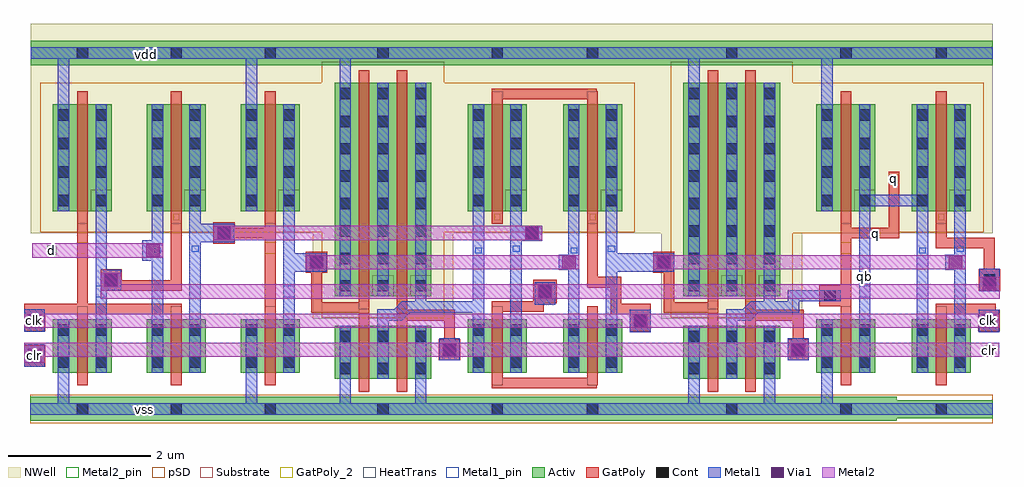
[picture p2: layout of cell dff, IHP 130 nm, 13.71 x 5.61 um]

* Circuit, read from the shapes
.subckt dff clk clr d q qb vdd vss
XM1 transmissiongate$1_4/clk clk vss vss sg13_lv_nmos w=0.75u l=0.15u
XM2 inverter$1$1_2/in clk d vss sg13_lv_nmos w=0.75u l=0.15u
XM3 nor_0/b inverter$1$1_2/in vss vss sg13_lv_nmos w=0.75u l=0.15u
XM4 transmissiongate$2_5/d nor_0/b vss vss sg13_lv_nmos w=0.75u l=0.15u
XM5 vss clr transmissiongate$2_5/d vss sg13_lv_nmos w=0.75u l=0.15u
XM6 inverter$1$1_2/in transmissiongate$1_4/clk transmissiongate$2_5/d vss sg13_lv_nmos w=0.75u l=0.15u
XM7 nor$1_9/b transmissiongate$1_4/clk nor_0/b vss sg13_lv_nmos w=0.75u l=0.15u
XM8 q nor$1_9/b vss vss sg13_lv_nmos w=0.75u l=0.15u
XM9 vss clr q vss sg13_lv_nmos w=0.75u l=0.15u
XM10 qb q vss vss sg13_lv_nmos w=0.75u l=0.15u
XM11 nor$1_9/b clk qb vss sg13_lv_nmos w=0.75u l=0.15u
XM12 transmissiongate$1_4/clk clk vdd vdd sg13_lv_pmos w=1.5u l=0.15u
XM13 inverter$1$1_2/in transmissiongate$1_4/clk d vdd sg13_lv_pmos w=1.5u l=0.15u
XM14 nor_0/b inverter$1$1_2/in vdd vdd sg13_lv_pmos w=1.5u l=0.15u
XM15 n1 nor_0/b vdd vdd sg13_lv_pmos w=3u l=0.15u
XM16 transmissiongate$2_5/d clr n1 vdd sg13_lv_pmos w=3u l=0.15u
XM17 inverter$1$1_2/in clk transmissiongate$2_5/d vdd sg13_lv_pmos w=1.5u l=0.15u
XM18 nor$1_9/b clk nor_0/b vdd sg13_lv_pmos w=1.5u l=0.15u
XM19 n2 nor$1_9/b vdd vdd sg13_lv_pmos w=3u l=0.15u
XM20 q clr n2 vdd sg13_lv_pmos w=3u l=0.15u
XM21 qb q vdd vdd sg13_lv_pmos w=1.5u l=0.15u
XM22 nor$1_9/b transmissiongate$1_4/clk qb vdd sg13_lv_pmos w=1.5u l=0.15u
.ends

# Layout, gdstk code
from math import pi, radians
import gdstk
lib = gdstk.Library(unit=1e-6, precision=5e-09)
def R(c, l, rs):  # rectangles x0, y0, x1, y1
    for r in rs: c.add(gdstk.rectangle(r[:2], r[2:], *l))
def A(c, l, x, y, w, h, nx, ny, dx, dy):  # array of equal rectangles
    R(c, l, [(x+i*dx, y+j*dy, x+i*dx+w, y+j*dy+h) for i in range(nx) for j in range(ny)])
def P(c, l, *ps):  # polygons
    for p in ps: c.add(gdstk.Polygon(p, *l))
Activ = (1, 0)
GatPoly = (5, 0)
GatPoly_2 = (5, 2)
Cont = (6, 0)
Metal1 = (8, 0)
Metal1_pin = (8, 2)
Metal2 = (10, 0)
Metal2_pin = (10, 2)
pSD = (14, 0)
Via1 = (19, 0)
NWell = (31, 0)
Substrate = (40, 0)
HeatTrans = (51, 0)

pmos_1_4 = lib.new_cell('pmos$1$4')
R(pmos_1_4, Activ, [(0,0,0.3,0.3), (0,0,0.83,3), (0.53,0,0.83,0.3)])
R(pmos_1_4, GatPoly, [(0.34,-0.18,0.49,3.18), (0.34,-0.18,0.49,3.18)])
A(pmos_1_4, Cont, 0.07, 0.07, 0.16, 0.16, 1, 7, 0, 0.385)
A(pmos_1_4, Cont, 0.6, 0.07, 0.16, 0.16, 1, 7, 0, 0.385)
R(pmos_1_4, Cont, [(0.07,2.77,0.23,2.93), (0.6,2.77,0.76,2.93)])
R(pmos_1_4, Metal1, [(0.07,0,0.23,3), (0.07,0,0.23,3), (0.6,0,0.76,3), (0.6,0,0.76,3)])
R(pmos_1_4, pSD, [(-0.18,-0.3,1.01,3.3)])
R(pmos_1_4, NWell, [(-0.31,-0.31,1.14,3.31)])
R(pmos_1_4, Substrate, [(0.53,0,0.83,0.3)])
R(pmos_1_4, HeatTrans, [(0.34,-0.18,0.49,3.18)])
pmos_1_4.add(gdstk.Label('pmos', (0.415,1.5), layer=63, texttype=0))
pmos_1_4.add(gdstk.Label('pmos', (0.415,1.5), layer=51, texttype=0))

nmos_3_1 = lib.new_cell('nmos$3$1')
R(nmos_3_1, Activ, [(0,0,0.3,0.3), (0,0,0.83,0.75), (0.53,0,0.83,0.3)])
R(nmos_3_1, GatPoly, [(0.34,-0.18,0.49,0.93)])
R(nmos_3_1, GatPoly_2, [(0.34,-0.18,0.49,0.93)])
R(nmos_3_1, Cont, [(0.07,0.07,0.23,0.23), (0.6,0.07,0.76,0.23), (0.07,0.52,0.23,0.68), (0.6,0.52,0.76,0.68)])
R(nmos_3_1, Metal1, [(0.07,0,0.23,0.75), (0.6,0,0.76,0.75)])
R(nmos_3_1, Metal1_pin, [(0.07,0,0.23,0.75), (0.6,0,0.76,0.75)])
R(nmos_3_1, HeatTrans, [(0.34,-0.18,0.49,0.93)])
nmos_3_1.add(gdstk.Label('nmos', (0.415,0.375), layer=63, texttype=0))
nmos_3_1.add(gdstk.Label('nmos', (0.415,0.375), layer=51, texttype=0))

m1_cont1_pmos_2 = lib.new_cell('M1_Cont1_PMOS$2')
R(m1_cont1_pmos_2, Activ, [(-0.985,-0.175,0.995,0.165)])
R(m1_cont1_pmos_2, Cont, [(-0.075,-0.085,0.085,0.075)])
R(m1_cont1_pmos_2, Metal1, [(-0.985,-0.085,0.995,0.075)])
R(m1_cont1_pmos_2, Metal1_pin, [(-0.985,-0.085,0.995,0.075)])
R(m1_cont1_pmos_2, NWell, [(-0.985,-0.415,0.995,0.405)])

m1_bulkcont1_pmos_2 = lib.new_cell('M1_BulkCont1_PMOS$2')
r = gdstk.Reference(m1_cont1_pmos_2, (-0.015,-0.015)); r.repetition = gdstk.Repetition(1, 1, v1=(0,0), v2=(0,0)); m1_bulkcont1_pmos_2.add(r)

m1_cont1_nmos_2 = lib.new_cell('M1_Cont1_NMOS$2')
R(m1_cont1_nmos_2, Activ, [(-0.98,-0.175,1,0.165)])
R(m1_cont1_nmos_2, Cont, [(-0.07,-0.085,0.09,0.075)])
R(m1_cont1_nmos_2, Metal1, [(-0.98,-0.085,1,0.075)])
R(m1_cont1_nmos_2, Metal1_pin, [(-0.98,-0.085,1,0.075)])
R(m1_cont1_nmos_2, pSD, [(-0.98,-0.205,1,0.195)])

m1_bulkcont1_nmos_2 = lib.new_cell('M1_BulkCont1_NMOS$2')
r = gdstk.Reference(m1_cont1_nmos_2, (0.005,0.01)); r.repetition = gdstk.Repetition(1, 1, v1=(0,0), v2=(0,0)); m1_bulkcont1_nmos_2.add(r)

nor = lib.new_cell('nor')
R(nor, GatPoly, [(0.19,-2.075,0.34,-1.165), (-0.34,-2.07,-0.19,-1.165)])
R(nor, GatPoly_2, [(0.19,-1.255,0.34,-1.09), (-0.34,-1.25,-0.19,-1.085)])
R(nor, Cont, [(-0.08,2.315,0.08,2.475)])
R(nor, Metal1, [(-0.08,-1.505,0.08,-1.205), (-0.08,-1.365,0.265,-1.205), (0.105,-1.365,0.265,-1.205), (0.265,-1.255,0.61,-1.095), (0.265,-1.255,0.425,-1.095), (0.45,-1.255,0.61,-0.955), (-0.61,1.515,-0.45,2.475)])
P(nor, Metal1, [(0.155,-1.205),(0.265,-1.095),(0.39,-1.095),(0.39,-1.205)],
  [(0.14,-1.365),(0.14,-1.255),(0.375,-1.255),(0.265,-1.365)])
R(nor, Metal1_pin, [(0.45,-0.955,0.61,-0.795)])
nor.add(gdstk.FlexPath([(-0.53,-2.035),(-0.53,-2.605),(0.53,-2.605),(0.53,-2.04)], 0.16, ends="flush", simple_path=True, layer=8, datatype=0))  # Metal1
nor.add(gdstk.Reference(pmos_1_4, (-0.68,-1.025)))
nor.add(gdstk.Reference(pmos_1_4, (-0.15,-1.025)))
nor.add(gdstk.Reference(nmos_3_1, (-0.68,-2.185)))
nor.add(gdstk.Reference(nmos_3_1, (-0.15,-2.185)))
nor.add(gdstk.Reference(m1_bulkcont1_pmos_2, (0.01,2.415)))
nor.add(gdstk.Reference(m1_bulkcont1_nmos_2, (-0.015,-2.61)))
nor.add(gdstk.Label('vdd', (0,2.4), layer=8, texttype=2))
nor.add(gdstk.Label('vss', (-0.005,-2.605), layer=8, texttype=2))
nor.add(gdstk.Label('out', (0.525,-0.86), layer=8, texttype=2))
nor.add(gdstk.Label('a', (0.26,-1.16), layer=5, texttype=2))
nor.add(gdstk.Label('b', (-0.275,-1.17), layer=5, texttype=2))

via_stack_1_1 = lib.new_cell('via_stack$1$1')
R(via_stack_1_1, Metal1, [(-0.145,-0.105,0.145,0.105)])
R(via_stack_1_1, Metal2, [(-0.145,-0.1,0.145,0.1)])
R(via_stack_1_1, Via1, [(-0.095,-0.095,0.095,0.095)])

m1_cont1_pmos_3 = lib.new_cell('M1_Cont1_PMOS$3')
R(m1_cont1_pmos_3, Activ, [(-0.72,-0.175,0.73,0.165)])
R(m1_cont1_pmos_3, Cont, [(-0.075,-0.085,0.085,0.075)])
R(m1_cont1_pmos_3, Metal1, [(-0.72,-0.085,0.73,0.075)])
R(m1_cont1_pmos_3, Metal1_pin, [(-0.72,-0.085,0.73,0.075)])
R(m1_cont1_pmos_3, NWell, [(-0.72,-0.415,0.73,0.405)])

m1_bulkcont1_pmos_3 = lib.new_cell('M1_BulkCont1_PMOS$3')
r = gdstk.Reference(m1_cont1_pmos_3, (-0.015,-0.015)); r.repetition = gdstk.Repetition(1, 1, v1=(0,0), v2=(0,0)); m1_bulkcont1_pmos_3.add(r)

m1_cont1_nmos_3 = lib.new_cell('M1_Cont1_NMOS$3')
R(m1_cont1_nmos_3, Activ, [(-0.725,-0.175,0.725,0.165)])
R(m1_cont1_nmos_3, Cont, [(-0.07,-0.085,0.09,0.075)])
R(m1_cont1_nmos_3, Metal1, [(-0.725,-0.085,0.725,0.075)])
R(m1_cont1_nmos_3, Metal1_pin, [(-0.725,-0.085,0.725,0.075)])
R(m1_cont1_nmos_3, pSD, [(-0.725,-0.205,0.725,0.195)])

m1_bulkcont1_nmos_3 = lib.new_cell('M1_BulkCont1_NMOS$3')
r = gdstk.Reference(m1_cont1_nmos_3, (0.005,0.01)); r.repetition = gdstk.Repetition(1, 1, v1=(0,0), v2=(0,0)); m1_bulkcont1_nmos_3.add(r)

nmos_2_1 = lib.new_cell('nmos$2$1')
R(nmos_2_1, Activ, [(0,0,0.3,0.3), (0,0,0.83,0.75), (0.53,0,0.83,0.3)])
R(nmos_2_1, GatPoly, [(0.34,-0.18,0.49,0.93)])
R(nmos_2_1, GatPoly_2, [(0.34,-0.18,0.49,0.93)])
R(nmos_2_1, Cont, [(0.07,0.07,0.23,0.23), (0.6,0.07,0.76,0.23), (0.07,0.52,0.23,0.68), (0.6,0.52,0.76,0.68)])
R(nmos_2_1, Metal1, [(0.07,0,0.23,0.75), (0.6,0,0.76,0.75)])
R(nmos_2_1, Metal1_pin, [(0.07,0,0.23,0.75), (0.6,0,0.76,0.75)])
R(nmos_2_1, HeatTrans, [(0.34,-0.18,0.49,0.93)])
nmos_2_1.add(gdstk.Label('nmos', (0.415,0.375), layer=63, texttype=0))
nmos_2_1.add(gdstk.Label('nmos', (0.415,0.375), layer=51, texttype=0))

pmos_1_6 = lib.new_cell('pmos$1$6')
R(pmos_1_6, Activ, [(0,0,0.3,0.3), (0,0,0.83,1.5), (0.53,0,0.83,0.3)])
R(pmos_1_6, GatPoly, [(0.34,-0.18,0.49,1.68), (0.34,-0.18,0.49,1.68)])
A(pmos_1_6, Cont, 0.07, 0.07, 0.16, 0.16, 1, 4, 0, 0.4)
A(pmos_1_6, Cont, 0.6, 0.07, 0.16, 0.16, 1, 4, 0, 0.4)
R(pmos_1_6, Metal1, [(0.07,0,0.23,1.5), (0.07,0,0.23,1.5), (0.6,0,0.76,1.5), (0.6,0,0.76,1.5)])
R(pmos_1_6, pSD, [(-0.18,-0.3,1.01,1.8)])
R(pmos_1_6, NWell, [(-0.31,-0.31,1.14,1.81)])
R(pmos_1_6, Substrate, [(0.53,0,0.83,0.3)])
R(pmos_1_6, HeatTrans, [(0.34,-0.18,0.49,1.68)])
pmos_1_6.add(gdstk.Label('pmos', (0.415,0.75), layer=63, texttype=0))
pmos_1_6.add(gdstk.Label('pmos', (0.415,0.75), layer=51, texttype=0))

inverter_1_1 = lib.new_cell('inverter$1$1')
R(inverter_1_1, GatPoly, [(-0.075,-1.72,0.075,0.805)])
R(inverter_1_1, GatPoly_2, [(-0.075,-0.425,0.075,-0.26)])
R(inverter_1_1, Cont, [(-0.08,-2.685,0.08,-2.525), (-0.08,2.315,0.08,2.475)])
R(inverter_1_1, Metal1, [(-0.345,-2.685,-0.185,-1.72), (0.185,-1.72,0.345,0.805), (-0.345,1.37,-0.185,2.475)])
R(inverter_1_1, Metal1_pin, [(-0.08,-2.685,0.08,-2.525), (0.185,-1.035,0.345,-0.875), (-0.08,2.315,0.08,2.475)])
inverter_1_1.add(gdstk.Reference(m1_bulkcont1_pmos_3, (0.01,2.415)))
inverter_1_1.add(gdstk.Reference(m1_bulkcont1_nmos_3, (-0.015,-2.61)))
inverter_1_1.add(gdstk.Reference(nmos_2_1, (-0.415,-2.095)))
inverter_1_1.add(gdstk.Reference(pmos_1_6, (-0.415,0.175)))
inverter_1_1.add(gdstk.Label('vdd', (-0.015,2.39), layer=8, texttype=2))
inverter_1_1.add(gdstk.Label('vss', (-0.01,-2.62), layer=8, texttype=2))
inverter_1_1.add(gdstk.Label('out', (0.27,-0.95), layer=8, texttype=2))
inverter_1_1.add(gdstk.Label('in', (-0.025,-0.34), layer=5, texttype=2))

pmos_1_7 = lib.new_cell('pmos$1$7')
R(pmos_1_7, Activ, [(0,0,0.3,0.3), (0,0,0.83,1.5), (0.53,0,0.83,0.3)])
R(pmos_1_7, GatPoly, [(0.34,-0.18,0.49,1.68), (0.34,-0.18,0.49,1.68)])
A(pmos_1_7, Cont, 0.07, 0.07, 0.16, 0.16, 1, 4, 0, 0.4)
A(pmos_1_7, Cont, 0.6, 0.07, 0.16, 0.16, 1, 4, 0, 0.4)
R(pmos_1_7, Metal1, [(0.07,0,0.23,1.5), (0.07,0,0.23,1.5), (0.6,0,0.76,1.5), (0.6,0,0.76,1.5)])
R(pmos_1_7, pSD, [(-0.18,-0.3,1.01,1.8)])
R(pmos_1_7, NWell, [(-0.31,-0.31,1.14,1.81)])
R(pmos_1_7, Substrate, [(0.53,0,0.83,0.3)])
R(pmos_1_7, HeatTrans, [(0.34,-0.18,0.49,1.68)])
pmos_1_7.add(gdstk.Label('pmos', (0.415,0.75), layer=63, texttype=0))
pmos_1_7.add(gdstk.Label('pmos', (0.415,0.75), layer=51, texttype=0))

nmos_1_2 = lib.new_cell('nmos$1$2')
R(nmos_1_2, Activ, [(0,0,0.3,0.3), (0,0,0.83,0.75), (0.53,0,0.83,0.3)])
R(nmos_1_2, GatPoly, [(0.34,-0.18,0.49,0.93)])
R(nmos_1_2, GatPoly_2, [(0.34,-0.18,0.49,0.93)])
R(nmos_1_2, Cont, [(0.07,0.07,0.23,0.23), (0.6,0.07,0.76,0.23), (0.07,0.52,0.23,0.68), (0.6,0.52,0.76,0.68)])
R(nmos_1_2, Metal1, [(0.07,0,0.23,0.75), (0.6,0,0.76,0.75)])
R(nmos_1_2, Metal1_pin, [(0.07,0,0.23,0.75), (0.6,0,0.76,0.75)])
R(nmos_1_2, HeatTrans, [(0.34,-0.18,0.49,0.93)])
nmos_1_2.add(gdstk.Label('nmos', (0.415,0.375), layer=63, texttype=0))
nmos_1_2.add(gdstk.Label('nmos', (0.415,0.375), layer=51, texttype=0))

transmissiongate = lib.new_cell('transmissiongate')
R(transmissiongate, Activ, [(-0.85,-2.775,0.6,-2.435), (-0.85,2.225,0.6,2.565)])
R(transmissiongate, GatPoly_2, [(-0.165,-1.29,-0.08,-1.205), (-0.165,0.045,-0.08,0.135)])
R(transmissiongate, Cont, [(-0.205,-2.685,-0.045,-2.525), (-0.205,2.315,-0.045,2.475)])
R(transmissiongate, Metal1, [(-0.85,-2.685,0.6,-2.525), (-0.47,-1.645,-0.31,0.4), (0.06,-1.645,0.22,0.41), (-0.85,2.315,0.6,2.475)])
R(transmissiongate, Metal1_pin, [(-0.85,-2.685,0.6,-2.525), (-0.435,-0.42,-0.34,-0.34), (0.09,-0.395,0.19,-0.31), (-0.85,2.315,0.6,2.475)])
R(transmissiongate, pSD, [(-0.85,-2.805,0.6,-2.405)])
R(transmissiongate, NWell, [(-0.85,1.985,0.6,2.805)])
transmissiongate.add(gdstk.Reference(pmos_1_7, (-0.54,0.175)))
transmissiongate.add(gdstk.Reference(nmos_1_2, (0.29,-1.345), rotation=pi))
transmissiongate.add(gdstk.Label('vdd', (-0.125,2.395), layer=6, texttype=0))
transmissiongate.add(gdstk.Label('out', (0.125,-0.365), layer=8, texttype=2))
transmissiongate.add(gdstk.Label('d', (-0.41,-0.38), layer=8, texttype=2))
transmissiongate.add(gdstk.Label('vss', (-0.125,-2.615), layer=8, texttype=2))
transmissiongate.add(gdstk.Label('clk_b', (-0.145,0.1), layer=5, texttype=2))
transmissiongate.add(gdstk.Label('clk', (-0.145,-1.245), layer=5, texttype=2))

pmos_1_7_1 = lib.new_cell('pmos$1$7$1')
R(pmos_1_7_1, Activ, [(0,0,0.3,0.3), (0,0,0.83,1.5), (0.53,0,0.83,0.3)])
R(pmos_1_7_1, GatPoly, [(0.34,-0.18,0.49,1.68), (0.34,-0.18,0.49,1.68)])
A(pmos_1_7_1, Cont, 0.07, 0.07, 0.16, 0.16, 1, 4, 0, 0.4)
A(pmos_1_7_1, Cont, 0.6, 0.07, 0.16, 0.16, 1, 4, 0, 0.4)
R(pmos_1_7_1, Metal1, [(0.07,0,0.23,1.5), (0.07,0,0.23,1.5), (0.6,0,0.76,1.5), (0.6,0,0.76,1.5)])
R(pmos_1_7_1, pSD, [(-0.18,-0.3,1.01,1.8)])
R(pmos_1_7_1, NWell, [(-0.31,-0.31,1.14,1.81)])
R(pmos_1_7_1, Substrate, [(0.53,0,0.83,0.3)])
R(pmos_1_7_1, HeatTrans, [(0.34,-0.18,0.49,1.68)])
pmos_1_7_1.add(gdstk.Label('pmos', (0.415,0.75), layer=63, texttype=0))
pmos_1_7_1.add(gdstk.Label('pmos', (0.415,0.75), layer=51, texttype=0))

nmos_1_1_1 = lib.new_cell('nmos$1$1$1')
R(nmos_1_1_1, Activ, [(0,0,0.3,0.3), (0,0,0.83,0.75), (0.53,0,0.83,0.3)])
R(nmos_1_1_1, GatPoly, [(0.34,-0.18,0.49,0.93)])
R(nmos_1_1_1, GatPoly_2, [(0.34,-0.18,0.49,0.93)])
R(nmos_1_1_1, Cont, [(0.07,0.07,0.23,0.23), (0.6,0.07,0.76,0.23), (0.07,0.52,0.23,0.68), (0.6,0.52,0.76,0.68)])
R(nmos_1_1_1, Metal1, [(0.07,0,0.23,0.75), (0.6,0,0.76,0.75)])
R(nmos_1_1_1, Metal1_pin, [(0.07,0,0.23,0.75), (0.6,0,0.76,0.75)])
R(nmos_1_1_1, HeatTrans, [(0.34,-0.18,0.49,0.93)])
nmos_1_1_1.add(gdstk.Label('nmos', (0.415,0.375), layer=63, texttype=0))
nmos_1_1_1.add(gdstk.Label('nmos', (0.415,0.375), layer=51, texttype=0))

transmissiongate_1 = lib.new_cell('transmissiongate$1')
R(transmissiongate_1, Activ, [(-0.85,-2.74,0.6,-2.485), (-0.85,2.225,0.6,2.565)])
R(transmissiongate_1, GatPoly_2, [(-0.165,-1.29,-0.08,-1.205), (-0.165,0.045,-0.08,0.135)])
R(transmissiongate_1, Cont, [(-0.205,-2.685,-0.045,-2.525), (-0.205,2.315,-0.045,2.475)])
R(transmissiongate_1, Metal1, [(-0.85,-2.685,0.6,-2.525), (-0.47,-1.645,-0.31,0.4), (0.06,-1.645,0.22,0.41), (-0.85,2.315,0.6,2.475)])
R(transmissiongate_1, Metal1_pin, [(-0.85,-2.685,0.6,-2.525), (-0.435,-0.42,-0.34,-0.34), (0.09,-0.395,0.19,-0.31), (-0.85,2.315,0.6,2.475)])
R(transmissiongate_1, pSD, [(-0.85,-2.805,0.6,-2.405)])
R(transmissiongate_1, NWell, [(-0.85,1.985,0.6,2.805)])
transmissiongate_1.add(gdstk.Reference(pmos_1_7_1, (-0.54,0.175)))
transmissiongate_1.add(gdstk.Reference(nmos_1_1_1, (0.29,-1.345), rotation=pi))
transmissiongate_1.add(gdstk.Label('vdd', (-0.125,2.395), layer=6, texttype=0))
transmissiongate_1.add(gdstk.Label('out', (0.125,-0.365), layer=8, texttype=2))
transmissiongate_1.add(gdstk.Label('d', (-0.41,-0.38), layer=8, texttype=2))
transmissiongate_1.add(gdstk.Label('vss', (-0.125,-2.615), layer=8, texttype=2))
transmissiongate_1.add(gdstk.Label('clk_b', (-0.145,0.1), layer=5, texttype=2))
transmissiongate_1.add(gdstk.Label('clk', (-0.145,-1.245), layer=5, texttype=2))

pmos_1_8 = lib.new_cell('pmos$1$8')
R(pmos_1_8, Activ, [(0,0,0.3,0.3), (0,0,0.83,1.5), (0.53,0,0.83,0.3)])
R(pmos_1_8, GatPoly, [(0.34,-0.18,0.49,1.68), (0.34,-0.18,0.49,1.68)])
A(pmos_1_8, Cont, 0.07, 0.07, 0.16, 0.16, 1, 4, 0, 0.4)
A(pmos_1_8, Cont, 0.6, 0.07, 0.16, 0.16, 1, 4, 0, 0.4)
R(pmos_1_8, Metal1, [(0.07,0,0.23,1.5), (0.07,0,0.23,1.5), (0.6,0,0.76,1.5), (0.6,0,0.76,1.5)])
R(pmos_1_8, pSD, [(-0.18,-0.3,1.01,1.8)])
R(pmos_1_8, NWell, [(-0.31,-0.31,1.14,1.81)])
R(pmos_1_8, Substrate, [(0.53,0,0.83,0.3)])
R(pmos_1_8, HeatTrans, [(0.34,-0.18,0.49,1.68)])
pmos_1_8.add(gdstk.Label('pmos', (0.415,0.75), layer=63, texttype=0))
pmos_1_8.add(gdstk.Label('pmos', (0.415,0.75), layer=51, texttype=0))

nmos_1_2_1 = lib.new_cell('nmos$1$2$1')
R(nmos_1_2_1, Activ, [(0,0,0.3,0.3), (0,0,0.83,0.75), (0.53,0,0.83,0.3)])
R(nmos_1_2_1, GatPoly, [(0.34,-0.18,0.49,0.93)])
R(nmos_1_2_1, GatPoly_2, [(0.34,-0.18,0.49,0.93)])
R(nmos_1_2_1, Cont, [(0.07,0.07,0.23,0.23), (0.6,0.07,0.76,0.23), (0.07,0.52,0.23,0.68), (0.6,0.52,0.76,0.68)])
R(nmos_1_2_1, Metal1, [(0.07,0,0.23,0.75), (0.6,0,0.76,0.75)])
R(nmos_1_2_1, Metal1_pin, [(0.07,0,0.23,0.75), (0.6,0,0.76,0.75)])
R(nmos_1_2_1, HeatTrans, [(0.34,-0.18,0.49,0.93)])
nmos_1_2_1.add(gdstk.Label('nmos', (0.415,0.375), layer=63, texttype=0))
nmos_1_2_1.add(gdstk.Label('nmos', (0.415,0.375), layer=51, texttype=0))

transmissiongate_2 = lib.new_cell('transmissiongate$2')
R(transmissiongate_2, Activ, [(-0.85,-2.74,0.6,-2.485), (-0.85,2.225,0.6,2.565)])
R(transmissiongate_2, GatPoly_2, [(-0.165,-1.29,-0.08,-1.205), (-0.165,0.045,-0.08,0.135)])
R(transmissiongate_2, Cont, [(-0.205,-2.685,-0.045,-2.525), (-0.205,2.315,-0.045,2.475)])
R(transmissiongate_2, Metal1, [(-0.85,-2.685,0.6,-2.525), (-0.47,-1.645,-0.31,0.4), (0.06,-1.645,0.22,0.41), (-0.85,2.315,0.6,2.475)])
R(transmissiongate_2, Metal1_pin, [(-0.85,-2.685,0.6,-2.525), (-0.435,-0.42,-0.34,-0.34), (0.09,-0.395,0.19,-0.31), (-0.85,2.315,0.6,2.475)])
R(transmissiongate_2, pSD, [(-0.85,-2.805,0.6,-2.405)])
R(transmissiongate_2, NWell, [(-0.85,1.985,0.6,2.805)])
transmissiongate_2.add(gdstk.Reference(pmos_1_8, (-0.54,0.175)))
transmissiongate_2.add(gdstk.Reference(nmos_1_2_1, (0.29,-1.345), rotation=pi))
transmissiongate_2.add(gdstk.Label('vdd', (-0.125,2.395), layer=6, texttype=0))
transmissiongate_2.add(gdstk.Label('out', (0.125,-0.365), layer=8, texttype=2))
transmissiongate_2.add(gdstk.Label('d', (-0.41,-0.38), layer=8, texttype=2))
transmissiongate_2.add(gdstk.Label('vss', (-0.125,-2.615), layer=8, texttype=2))
transmissiongate_2.add(gdstk.Label('clk_b', (-0.145,0.1), layer=5, texttype=2))
transmissiongate_2.add(gdstk.Label('clk', (-0.145,-1.245), layer=5, texttype=2))

pmos_1_9 = lib.new_cell('pmos$1$9')
R(pmos_1_9, Activ, [(0,0,0.3,0.3), (0,0,0.83,3), (0.53,0,0.83,0.3)])
R(pmos_1_9, GatPoly, [(0.34,-0.18,0.49,3.18), (0.34,-0.18,0.49,3.18)])
A(pmos_1_9, Cont, 0.07, 0.07, 0.16, 0.16, 1, 7, 0, 0.385)
A(pmos_1_9, Cont, 0.6, 0.07, 0.16, 0.16, 1, 7, 0, 0.385)
R(pmos_1_9, Cont, [(0.07,2.77,0.23,2.93), (0.6,2.77,0.76,2.93)])
R(pmos_1_9, Metal1, [(0.07,0,0.23,3), (0.07,0,0.23,3), (0.6,0,0.76,3), (0.6,0,0.76,3)])
R(pmos_1_9, pSD, [(-0.18,-0.3,1.01,3.3)])
R(pmos_1_9, NWell, [(-0.31,-0.31,1.14,3.31)])
R(pmos_1_9, Substrate, [(0.53,0,0.83,0.3)])
R(pmos_1_9, HeatTrans, [(0.34,-0.18,0.49,3.18)])
pmos_1_9.add(gdstk.Label('pmos', (0.415,1.5), layer=63, texttype=0))
pmos_1_9.add(gdstk.Label('pmos', (0.415,1.5), layer=51, texttype=0))

nmos_4 = lib.new_cell('nmos$4')
R(nmos_4, Activ, [(0,0,0.3,0.3), (0,0,0.83,0.75), (0.53,0,0.83,0.3)])
R(nmos_4, GatPoly, [(0.34,-0.18,0.49,0.93)])
R(nmos_4, GatPoly_2, [(0.34,-0.18,0.49,0.93)])
R(nmos_4, Cont, [(0.07,0.07,0.23,0.23), (0.6,0.07,0.76,0.23), (0.07,0.52,0.23,0.68), (0.6,0.52,0.76,0.68)])
R(nmos_4, Metal1, [(0.07,0,0.23,0.75), (0.6,0,0.76,0.75)])
R(nmos_4, Metal1_pin, [(0.07,0,0.23,0.75), (0.6,0,0.76,0.75)])
R(nmos_4, HeatTrans, [(0.34,-0.18,0.49,0.93)])
nmos_4.add(gdstk.Label('nmos', (0.415,0.375), layer=63, texttype=0))
nmos_4.add(gdstk.Label('nmos', (0.415,0.375), layer=51, texttype=0))

m1_cont1_pmos_4 = lib.new_cell('M1_Cont1_PMOS$4')
R(m1_cont1_pmos_4, Activ, [(-0.985,-0.175,0.995,0.165)])
R(m1_cont1_pmos_4, Cont, [(-0.075,-0.085,0.085,0.075)])
R(m1_cont1_pmos_4, Metal1, [(-0.985,-0.085,0.995,0.075)])
R(m1_cont1_pmos_4, Metal1_pin, [(-0.985,-0.085,0.995,0.075)])
R(m1_cont1_pmos_4, NWell, [(-0.985,-0.415,0.995,0.405)])

m1_bulkcont1_pmos_4 = lib.new_cell('M1_BulkCont1_PMOS$4')
r = gdstk.Reference(m1_cont1_pmos_4, (-0.015,-0.015)); r.repetition = gdstk.Repetition(1, 1, v1=(0,0), v2=(0,0)); m1_bulkcont1_pmos_4.add(r)

m1_cont1_nmos_4 = lib.new_cell('M1_Cont1_NMOS$4')
R(m1_cont1_nmos_4, Activ, [(-0.98,-0.175,1,0.165)])
R(m1_cont1_nmos_4, Cont, [(-0.07,-0.085,0.09,0.075)])
R(m1_cont1_nmos_4, Metal1, [(-0.98,-0.085,1,0.075)])
R(m1_cont1_nmos_4, Metal1_pin, [(-0.98,-0.085,1,0.075)])
R(m1_cont1_nmos_4, pSD, [(-0.98,-0.205,1,0.195)])

m1_bulkcont1_nmos_4 = lib.new_cell('M1_BulkCont1_NMOS$4')
r = gdstk.Reference(m1_cont1_nmos_4, (0.005,0.01)); r.repetition = gdstk.Repetition(1, 1, v1=(0,0), v2=(0,0)); m1_bulkcont1_nmos_4.add(r)

nor_1 = lib.new_cell('nor$1')
R(nor_1, GatPoly, [(0.19,-2.075,0.34,-1.165), (-0.34,-2.07,-0.19,-1.165)])
R(nor_1, GatPoly_2, [(0.19,-1.255,0.34,-1.09), (-0.34,-1.25,-0.19,-1.085)])
R(nor_1, Cont, [(-0.08,2.315,0.08,2.475)])
R(nor_1, Metal1, [(-0.08,-1.505,0.08,-1.205), (-0.08,-1.365,0.265,-1.205), (0.105,-1.365,0.265,-1.205), (0.265,-1.255,0.61,-1.095), (0.265,-1.255,0.425,-1.095), (0.45,-1.255,0.61,-0.955), (-0.61,1.515,-0.45,2.475)])
P(nor_1, Metal1, [(0.155,-1.205),(0.265,-1.095),(0.39,-1.095),(0.39,-1.205)],
  [(0.14,-1.365),(0.14,-1.255),(0.375,-1.255),(0.265,-1.365)])
R(nor_1, Metal1_pin, [(0.45,-0.955,0.61,-0.795)])
nor_1.add(gdstk.FlexPath([(-0.53,-2.035),(-0.53,-2.605),(0.53,-2.605),(0.53,-2.04)], 0.16, ends="flush", simple_path=True, layer=8, datatype=0))  # Metal1
nor_1.add(gdstk.Reference(pmos_1_9, (-0.68,-1.025)))
nor_1.add(gdstk.Reference(pmos_1_9, (-0.15,-1.025)))
nor_1.add(gdstk.Reference(nmos_4, (-0.68,-2.185)))
nor_1.add(gdstk.Reference(nmos_4, (-0.15,-2.185)))
nor_1.add(gdstk.Reference(m1_bulkcont1_pmos_4, (0.01,2.415)))
nor_1.add(gdstk.Reference(m1_bulkcont1_nmos_4, (-0.015,-2.61)))
nor_1.add(gdstk.Label('vdd', (0,2.4), layer=8, texttype=2))
nor_1.add(gdstk.Label('vss', (-0.005,-2.605), layer=8, texttype=2))
nor_1.add(gdstk.Label('out', (0.525,-0.86), layer=8, texttype=2))
nor_1.add(gdstk.Label('a', (0.26,-1.16), layer=5, texttype=2))
nor_1.add(gdstk.Label('b', (-0.275,-1.17), layer=5, texttype=2))

m1_cont1_pmos_5 = lib.new_cell('M1_Cont1_PMOS$5')
R(m1_cont1_pmos_5, Activ, [(-0.72,-0.175,0.73,0.165)])
R(m1_cont1_pmos_5, Cont, [(-0.075,-0.085,0.085,0.075)])
R(m1_cont1_pmos_5, Metal1, [(-0.72,-0.085,0.73,0.075)])
R(m1_cont1_pmos_5, Metal1_pin, [(-0.72,-0.085,0.73,0.075)])
R(m1_cont1_pmos_5, NWell, [(-0.72,-0.415,0.73,0.405)])

m1_bulkcont1_pmos_5 = lib.new_cell('M1_BulkCont1_PMOS$5')
r = gdstk.Reference(m1_cont1_pmos_5, (-0.015,-0.015)); r.repetition = gdstk.Repetition(1, 1, v1=(0,0), v2=(0,0)); m1_bulkcont1_pmos_5.add(r)

m1_cont1_nmos_5 = lib.new_cell('M1_Cont1_NMOS$5')
R(m1_cont1_nmos_5, Activ, [(-0.725,-0.175,0.725,0.165)])
R(m1_cont1_nmos_5, Cont, [(-0.07,-0.085,0.09,0.075)])
R(m1_cont1_nmos_5, Metal1, [(-0.725,-0.085,0.725,0.075)])
R(m1_cont1_nmos_5, Metal1_pin, [(-0.725,-0.085,0.725,0.075)])
R(m1_cont1_nmos_5, pSD, [(-0.725,-0.205,0.725,0.195)])

m1_bulkcont1_nmos_5 = lib.new_cell('M1_BulkCont1_NMOS$5')
r = gdstk.Reference(m1_cont1_nmos_5, (0.005,0.01)); r.repetition = gdstk.Repetition(1, 1, v1=(0,0), v2=(0,0)); m1_bulkcont1_nmos_5.add(r)

nmos_5 = lib.new_cell('nmos$5')
R(nmos_5, Activ, [(0,0,0.3,0.3), (0,0,0.83,0.75), (0.53,0,0.83,0.3)])
R(nmos_5, GatPoly, [(0.34,-0.18,0.49,0.93)])
R(nmos_5, GatPoly_2, [(0.34,-0.18,0.49,0.93)])
R(nmos_5, Cont, [(0.07,0.07,0.23,0.23), (0.6,0.07,0.76,0.23), (0.07,0.52,0.23,0.68), (0.6,0.52,0.76,0.68)])
R(nmos_5, Metal1, [(0.07,0,0.23,0.75), (0.6,0,0.76,0.75)])
R(nmos_5, Metal1_pin, [(0.07,0,0.23,0.75), (0.6,0,0.76,0.75)])
R(nmos_5, HeatTrans, [(0.34,-0.18,0.49,0.93)])
nmos_5.add(gdstk.Label('nmos', (0.415,0.375), layer=63, texttype=0))
nmos_5.add(gdstk.Label('nmos', (0.415,0.375), layer=51, texttype=0))

pmos_1_10 = lib.new_cell('pmos$1$10')
R(pmos_1_10, Activ, [(0,0,0.3,0.3), (0,0,0.83,1.5), (0.53,0,0.83,0.3)])
R(pmos_1_10, GatPoly, [(0.34,-0.18,0.49,1.68), (0.34,-0.18,0.49,1.68)])
A(pmos_1_10, Cont, 0.07, 0.07, 0.16, 0.16, 1, 4, 0, 0.4)
A(pmos_1_10, Cont, 0.6, 0.07, 0.16, 0.16, 1, 4, 0, 0.4)
R(pmos_1_10, Metal1, [(0.07,0,0.23,1.5), (0.07,0,0.23,1.5), (0.6,0,0.76,1.5), (0.6,0,0.76,1.5)])
R(pmos_1_10, pSD, [(-0.18,-0.3,1.01,1.8)])
R(pmos_1_10, NWell, [(-0.31,-0.31,1.14,1.81)])
R(pmos_1_10, Substrate, [(0.53,0,0.83,0.3)])
R(pmos_1_10, HeatTrans, [(0.34,-0.18,0.49,1.68)])
pmos_1_10.add(gdstk.Label('pmos', (0.415,0.75), layer=63, texttype=0))
pmos_1_10.add(gdstk.Label('pmos', (0.415,0.75), layer=51, texttype=0))

inverter_2_1 = lib.new_cell('inverter$2$1')
R(inverter_2_1, GatPoly, [(-0.075,-1.72,0.075,0.805)])
R(inverter_2_1, GatPoly_2, [(-0.075,-0.425,0.075,-0.26)])
R(inverter_2_1, Cont, [(-0.08,-2.685,0.08,-2.525), (-0.08,2.315,0.08,2.475)])
R(inverter_2_1, Metal1, [(-0.345,-2.685,-0.185,-1.72), (0.185,-1.72,0.345,0.805), (-0.345,1.37,-0.185,2.475)])
R(inverter_2_1, Metal1_pin, [(-0.08,-2.685,0.08,-2.525), (0.185,-1.035,0.345,-0.875), (-0.08,2.315,0.08,2.475)])
inverter_2_1.add(gdstk.Reference(m1_bulkcont1_pmos_5, (0.01,2.415)))
inverter_2_1.add(gdstk.Reference(m1_bulkcont1_nmos_5, (-0.015,-2.61)))
inverter_2_1.add(gdstk.Reference(nmos_5, (-0.415,-2.095)))
inverter_2_1.add(gdstk.Reference(pmos_1_10, (-0.415,0.175)))
inverter_2_1.add(gdstk.Label('vdd', (-0.015,2.39), layer=8, texttype=2))
inverter_2_1.add(gdstk.Label('vss', (-0.01,-2.62), layer=8, texttype=2))
inverter_2_1.add(gdstk.Label('out', (0.27,-0.95), layer=8, texttype=2))
inverter_2_1.add(gdstk.Label('in', (-0.025,-0.34), layer=5, texttype=2))

pmos_1_11 = lib.new_cell('pmos$1$11')
R(pmos_1_11, Activ, [(0,0,0.3,0.3), (0,0,0.83,1.5), (0.53,0,0.83,0.3)])
R(pmos_1_11, GatPoly, [(0.34,-0.18,0.49,1.68), (0.34,-0.18,0.49,1.68)])
A(pmos_1_11, Cont, 0.07, 0.07, 0.16, 0.16, 1, 4, 0, 0.4)
A(pmos_1_11, Cont, 0.6, 0.07, 0.16, 0.16, 1, 4, 0, 0.4)
R(pmos_1_11, Metal1, [(0.07,0,0.23,1.5), (0.07,0,0.23,1.5), (0.6,0,0.76,1.5), (0.6,0,0.76,1.5)])
R(pmos_1_11, pSD, [(-0.18,-0.3,1.01,1.8)])
R(pmos_1_11, NWell, [(-0.31,-0.31,1.14,1.81)])
R(pmos_1_11, Substrate, [(0.53,0,0.83,0.3)])
R(pmos_1_11, HeatTrans, [(0.34,-0.18,0.49,1.68)])
pmos_1_11.add(gdstk.Label('pmos', (0.415,0.75), layer=63, texttype=0))
pmos_1_11.add(gdstk.Label('pmos', (0.415,0.75), layer=51, texttype=0))

nmos_1_3 = lib.new_cell('nmos$1$3')
R(nmos_1_3, Activ, [(0,0,0.3,0.3), (0,0,0.83,0.75), (0.53,0,0.83,0.3)])
R(nmos_1_3, GatPoly, [(0.34,-0.18,0.49,0.93)])
R(nmos_1_3, GatPoly_2, [(0.34,-0.18,0.49,0.93)])
R(nmos_1_3, Cont, [(0.07,0.07,0.23,0.23), (0.6,0.07,0.76,0.23), (0.07,0.52,0.23,0.68), (0.6,0.52,0.76,0.68)])
R(nmos_1_3, Metal1, [(0.07,0,0.23,0.75), (0.6,0,0.76,0.75)])
R(nmos_1_3, Metal1_pin, [(0.07,0,0.23,0.75), (0.6,0,0.76,0.75)])
R(nmos_1_3, HeatTrans, [(0.34,-0.18,0.49,0.93)])
nmos_1_3.add(gdstk.Label('nmos', (0.415,0.375), layer=63, texttype=0))
nmos_1_3.add(gdstk.Label('nmos', (0.415,0.375), layer=51, texttype=0))

transmissiongate_3 = lib.new_cell('transmissiongate$3')
R(transmissiongate_3, Activ, [(-0.85,-2.74,0.6,-2.485), (-0.85,2.225,0.6,2.565)])
R(transmissiongate_3, GatPoly_2, [(-0.165,-1.29,-0.08,-1.205), (-0.165,0.045,-0.08,0.135)])
R(transmissiongate_3, Cont, [(-0.205,-2.685,-0.045,-2.525), (-0.205,2.315,-0.045,2.475)])
R(transmissiongate_3, Metal1, [(-0.85,-2.685,0.6,-2.525), (-0.47,-1.645,-0.31,0.4), (0.06,-1.645,0.22,0.41), (-0.85,2.315,0.6,2.475)])
R(transmissiongate_3, Metal1_pin, [(-0.85,-2.685,0.6,-2.525), (-0.435,-0.42,-0.34,-0.34), (0.09,-0.395,0.19,-0.31), (-0.85,2.315,0.6,2.475)])
R(transmissiongate_3, pSD, [(-0.85,-2.805,0.6,-2.405)])
R(transmissiongate_3, NWell, [(-0.85,1.985,0.6,2.805)])
transmissiongate_3.add(gdstk.Reference(pmos_1_11, (-0.54,0.175)))
transmissiongate_3.add(gdstk.Reference(nmos_1_3, (0.29,-1.345), rotation=pi))
transmissiongate_3.add(gdstk.Label('vdd', (-0.125,2.395), layer=6, texttype=0))
transmissiongate_3.add(gdstk.Label('out', (0.125,-0.365), layer=8, texttype=2))
transmissiongate_3.add(gdstk.Label('d', (-0.41,-0.38), layer=8, texttype=2))
transmissiongate_3.add(gdstk.Label('vss', (-0.125,-2.615), layer=8, texttype=2))
transmissiongate_3.add(gdstk.Label('clk_b', (-0.145,0.1), layer=5, texttype=2))
transmissiongate_3.add(gdstk.Label('clk', (-0.145,-1.245), layer=5, texttype=2))

m1_cont1_pmos_6 = lib.new_cell('M1_Cont1_PMOS$6')
R(m1_cont1_pmos_6, Activ, [(-0.72,-0.175,0.73,0.165)])
R(m1_cont1_pmos_6, Cont, [(-0.075,-0.085,0.085,0.075)])
R(m1_cont1_pmos_6, Metal1, [(-0.72,-0.085,0.73,0.075)])
R(m1_cont1_pmos_6, Metal1_pin, [(-0.72,-0.085,0.73,0.075)])
R(m1_cont1_pmos_6, NWell, [(-0.72,-0.415,0.73,0.405)])

m1_bulkcont1_pmos_6 = lib.new_cell('M1_BulkCont1_PMOS$6')
r = gdstk.Reference(m1_cont1_pmos_6, (-0.015,-0.015)); r.repetition = gdstk.Repetition(1, 1, v1=(0,0), v2=(0,0)); m1_bulkcont1_pmos_6.add(r)

m1_cont1_nmos_6 = lib.new_cell('M1_Cont1_NMOS$6')
R(m1_cont1_nmos_6, Activ, [(-0.725,-0.175,0.725,0.165)])
R(m1_cont1_nmos_6, Cont, [(-0.07,-0.085,0.09,0.075)])
R(m1_cont1_nmos_6, Metal1, [(-0.725,-0.085,0.725,0.075)])
R(m1_cont1_nmos_6, Metal1_pin, [(-0.725,-0.085,0.725,0.075)])
R(m1_cont1_nmos_6, pSD, [(-0.725,-0.205,0.725,0.195)])

m1_bulkcont1_nmos_6 = lib.new_cell('M1_BulkCont1_NMOS$6')
r = gdstk.Reference(m1_cont1_nmos_6, (0.005,0.01)); r.repetition = gdstk.Repetition(1, 1, v1=(0,0), v2=(0,0)); m1_bulkcont1_nmos_6.add(r)

nmos_6 = lib.new_cell('nmos$6')
R(nmos_6, Activ, [(0,0,0.3,0.3), (0,0,0.83,0.75), (0.53,0,0.83,0.3)])
R(nmos_6, GatPoly, [(0.34,-0.18,0.49,0.93)])
R(nmos_6, GatPoly_2, [(0.34,-0.18,0.49,0.93)])
R(nmos_6, Cont, [(0.07,0.07,0.23,0.23), (0.6,0.07,0.76,0.23), (0.07,0.52,0.23,0.68), (0.6,0.52,0.76,0.68)])
R(nmos_6, Metal1, [(0.07,0,0.23,0.75), (0.6,0,0.76,0.75)])
R(nmos_6, Metal1_pin, [(0.07,0,0.23,0.75), (0.6,0,0.76,0.75)])
R(nmos_6, HeatTrans, [(0.34,-0.18,0.49,0.93)])
nmos_6.add(gdstk.Label('nmos', (0.415,0.375), layer=63, texttype=0))
nmos_6.add(gdstk.Label('nmos', (0.415,0.375), layer=51, texttype=0))

pmos_1_12 = lib.new_cell('pmos$1$12')
R(pmos_1_12, Activ, [(0,0,0.3,0.3), (0,0,0.83,1.5), (0.53,0,0.83,0.3)])
R(pmos_1_12, GatPoly, [(0.34,-0.18,0.49,1.68), (0.34,-0.18,0.49,1.68)])
A(pmos_1_12, Cont, 0.07, 0.07, 0.16, 0.16, 1, 4, 0, 0.4)
A(pmos_1_12, Cont, 0.6, 0.07, 0.16, 0.16, 1, 4, 0, 0.4)
R(pmos_1_12, Metal1, [(0.07,0,0.23,1.5), (0.07,0,0.23,1.5), (0.6,0,0.76,1.5), (0.6,0,0.76,1.5)])
R(pmos_1_12, pSD, [(-0.18,-0.3,1.01,1.8)])
R(pmos_1_12, NWell, [(-0.31,-0.31,1.14,1.81)])
R(pmos_1_12, Substrate, [(0.53,0,0.83,0.3)])
R(pmos_1_12, HeatTrans, [(0.34,-0.18,0.49,1.68)])
pmos_1_12.add(gdstk.Label('pmos', (0.415,0.75), layer=63, texttype=0))
pmos_1_12.add(gdstk.Label('pmos', (0.415,0.75), layer=51, texttype=0))

inverter_3 = lib.new_cell('inverter$3')
R(inverter_3, GatPoly, [(-0.075,-1.72,0.075,0.805)])
R(inverter_3, GatPoly_2, [(-0.075,-0.425,0.075,-0.26)])
R(inverter_3, Cont, [(-0.08,-2.685,0.08,-2.525), (-0.08,2.315,0.08,2.475)])
R(inverter_3, Metal1, [(-0.345,-2.685,-0.185,-1.72), (0.185,-1.72,0.345,0.805), (-0.345,1.37,-0.185,2.475)])
R(inverter_3, Metal1_pin, [(-0.08,-2.685,0.08,-2.525), (0.185,-1.035,0.345,-0.875), (-0.08,2.315,0.08,2.475)])
inverter_3.add(gdstk.Reference(m1_bulkcont1_pmos_6, (0.01,2.415)))
inverter_3.add(gdstk.Reference(m1_bulkcont1_nmos_6, (-0.015,-2.61)))
inverter_3.add(gdstk.Reference(nmos_6, (-0.415,-2.095)))
inverter_3.add(gdstk.Reference(pmos_1_12, (-0.415,0.175)))
inverter_3.add(gdstk.Label('vdd', (-0.015,2.39), layer=8, texttype=2))
inverter_3.add(gdstk.Label('vss', (-0.01,-2.62), layer=8, texttype=2))
inverter_3.add(gdstk.Label('out', (0.27,-0.95), layer=8, texttype=2))
inverter_3.add(gdstk.Label('in', (-0.025,-0.34), layer=5, texttype=2))

dff = lib.new_cell('dff')
R(dff, Activ, [(5.71,-2.775,8.63,-2.435), (8.39,2.225,8.63,2.565)])
R(dff, GatPoly, [(6.25,-2.315,7.72,-2.165), (-0.325,-2.01,-0.025,-1.71), (5.505,-1.925,5.805,-1.625), (10.405,-1.925,10.705,-1.625), (-0.325,-1.515,-0.025,-1.215), (8.185,-1.515,8.485,-1.215), (13.085,-1.515,13.385,-1.215), (5.06,-1.365,5.73,-1.215), (9.96,-1.365,10.63,-1.215), (-0.325,-1.275,1.89,-1.125), (7.92,-1.275,8.485,-1.125), (12.49,-1.275,13.33,-1.125), (3.71,-1.255,4.53,-1.105), (8.665,-1.255,9.43,-1.105), (10.85,-1.165,11.15,-0.865), (10.85,-1.165,11.15,-0.865), (7.92,-1.125,8.07,-0.75), (6.83,-1.12,7.16,-0.79), (3.71,-1.105,3.86,-0.695), (8.665,-1.105,8.815,-0.695), (0.75,-0.945,1.05,-0.645), (13.09,-0.945,13.39,-0.645), (7.59,-0.9,7.74,-0.005), (7.59,-0.9,7.92,-0.75), (3.635,-0.695,3.935,-0.395), (8.515,-0.695,8.815,-0.395), (2.335,-0.285,2.635,0.015), (6.25,1.745,7.72,1.895)])
R(dff, GatPoly_2, [(11.58,-0.2,11.71,-0.07), (11.835,0.565,11.965,0.695)])
R(dff, Cont, [(5.575,-1.855,5.735,-1.695), (10.475,-1.855,10.635,-1.695), (-0.255,-1.445,-0.095,-1.285), (8.255,-1.445,8.415,-1.285), (13.155,-1.445,13.315,-1.285), (10.92,-1.095,11.08,-0.935), (6.915,-1.035,7.075,-0.875), (0.82,-0.875,0.98,-0.715), (13.16,-0.875,13.32,-0.715), (3.705,-0.625,3.865,-0.465), (8.585,-0.625,8.745,-0.465), (2.405,-0.215,2.565,-0.055), (6.735,-0.215,6.895,-0.055)])
R(dff, Metal1, [(8.39,-2.685,8.63,-2.525), (-0.32,-2.015,-0.03,-1.7), (5.51,-1.925,5.8,-1.61), (10.41,-1.925,10.7,-1.61), (8.19,-1.525,8.48,-1.21), (13.09,-1.525,13.38,-1.21), (-0.32,-1.52,-0.03,-1.205), (5.17,-1.255,6.14,-1.095), (6.85,-1.14,7.14,-0.825), (10.41,-1.095,11.15,-0.935), (13.095,-0.95,13.385,-0.635), (0.755,-0.94,1.045,-0.65), (3.32,-0.675,3.705,-0.415), (3.64,-0.675,3.93,-0.415), (7.85,-0.675,8.54,-0.415), (8.52,-0.675,8.81,-0.415), (1.34,-0.525,1.63,-0.235), (2.16,-0.265,2.34,-0.005), (2.34,-0.265,2.63,-0.005), (11.41,0.245,12.36,0.405), (8.39,2.315,8.63,2.475)])
R(dff, Metal1_pin, [(8.39,-2.685,8.63,-2.525), (11.43,-0.815,11.55,-0.685), (8.39,2.315,8.63,2.475)])
R(dff, Metal2, [(-0.32,-1.875,13.38,-1.675), (-0.06,-1.465,13.13,-1.265), (0.755,-1.055,13.385,-0.855)])
R(dff, Metal2_pin, [(-0.24,-1.925,-0.11,-1.795), (13.175,-1.845,13.305,-1.715), (13.17,-1.435,13.3,-1.305), (-0.24,-1.43,-0.11,-1.3), (0,-0.445,0.13,-0.315)])
R(dff, pSD, [(8.39,-2.805,8.63,-2.405), (10.48,-0.135,11.97,1.975), (1.09,-0.125,7.07,1.975)])
R(dff, NWell, [(8.39,-0.135,8.63,2.805)])
dff.add(gdstk.FlexPath([(10.23,-1.175),(10.57,-1.175)], 0.16, ends="flush", simple_path=True, layer=8, datatype=0))  # Metal1
dff.add(gdstk.FlexPath([(1.815,0.175),(1.815,-0.87),(0.94,-0.87)], 0.15, ends="flush", simple_path=True, layer=5, datatype=0))  # GatPoly
dff.add(gdstk.FlexPath([(11.9,0.725),(11.9,-0.21)], 0.15, ends="flush", simple_path=True, layer=5, datatype=0))  # GatPoly
dff.add(gdstk.FlexPath([(11.975,-0.135),(11.15,-0.135)], 0.15, ends="flush", simple_path=True, layer=5, datatype=0))  # GatPoly
dff.add(gdstk.FlexPath([(6.25,-1.165),(6.905,-1.165),(6.905,-1.05)], 0.15, ends="flush", simple_path=True, layer=5, datatype=0))  # GatPoly
dff.add(gdstk.FlexPath([(5.655,-1.87),(5.655,-1.365)], 0.15, ends="flush", simple_path=True, layer=5, datatype=0))  # GatPoly
dff.add(gdstk.FlexPath([(10.555,-1.87),(10.555,-1.365)], 0.15, ends="flush", simple_path=True, layer=5, datatype=0))  # GatPoly
dff.add(gdstk.FlexPath([(13.24,-0.755),(13.24,-0.275),(12.565,-0.275),(12.565,0.175)], 0.15, ends="flush", simple_path=True, layer=5, datatype=0))  # GatPoly
dff.add(gdstk.FlexPath([(2.55,-0.135),(3.21,-0.135),(3.21,-0.135)], 0.15, ends="flush", simple_path=True, layer=5, datatype=0))  # GatPoly
dff.add(gdstk.FlexPath([(-0.21,-0.38),(1.63,-0.38)], 0.2, ends="flush", simple_path=True, layer=10, datatype=0))  # Metal2
dff.add(gdstk.FlexPath([(8.605,-0.545),(12.73,-0.545)], 0.2, ends="flush", simple_path=True, layer=10, datatype=0))  # Metal2
dff.add(gdstk.FlexPath([(3.785,-0.545),(7.295,-0.545),(7.46,-0.545)], 0.2, ends="flush", simple_path=True, layer=10, datatype=0))  # Metal2
dff.add(gdstk.FlexPath([(6.895,-0.135),(2.615,-0.135)], 0.2, ends="flush", simple_path=True, layer=10, datatype=0))  # Metal2
dff.add(gdstk.Reference(nor, (4.72,0)))
dff.add(gdstk.Reference(via_stack_1_1, (3.785,-0.545)))
dff.add(gdstk.Reference(inverter_1_1, (3.135,0)))
dff.add(gdstk.Reference(transmissiongate, (1.94,0)))
dff.add(gdstk.Reference(transmissiongate_1, (7.79,0)))
dff.add(gdstk.Reference(transmissiongate_2, (6.45,0)))
dff.add(gdstk.Reference(via_stack_1_1, (6.815,-0.135)))
dff.add(gdstk.Reference(via_stack_1_1, (2.485,-0.135)))
dff.add(gdstk.Reference(via_stack_1_1, (7.335,-0.545)))
dff.add(gdstk.Reference(nor_1, (9.62,0)))
dff.add(gdstk.Reference(via_stack_1_1, (8.665,-0.545)))
dff.add(gdstk.Reference(inverter_2_1, (11.225,0)))
dff.add(gdstk.Reference(transmissiongate_3, (12.69,0)))
dff.add(gdstk.Reference(via_stack_1_1, (12.765,-0.545)))
dff.add(gdstk.Reference(via_stack_1_1, (5.655,-1.775)))
dff.add(gdstk.Reference(via_stack_1_1, (10.555,-1.775)))
dff.add(gdstk.Reference(via_stack_1_1, (8.335,-1.365)))
dff.add(gdstk.Reference(via_stack_1_1, (6.995,-0.955)))
dff.add(gdstk.Reference(via_stack_1_1, (0.9,-0.795), rotation=pi, x_reflection=True))
dff.add(gdstk.Reference(via_stack_1_1, (-0.175,-1.855)))
dff.add(gdstk.Reference(via_stack_1_1, (13.24,-0.85)))
dff.add(gdstk.Reference(via_stack_1_1, (13.235,-1.365)))
dff.add(gdstk.Reference(via_stack_1_1, (-0.175,-1.365), rotation=pi, x_reflection=True))
dff.add(gdstk.Reference(inverter_3, (0.495,0)))
dff.add(gdstk.Reference(via_stack_1_1, (1.485,-0.38), rotation=pi, x_reflection=True))
dff.add(gdstk.Label('vdd', (1.4,2.38), layer=8, texttype=2))
dff.add(gdstk.Label('vss', (1.37,-2.61), layer=8, texttype=2))
dff.add(gdstk.Label('qb', (11.48,-0.75), layer=8, texttype=2))
dff.add(gdstk.Label('clr', (13.24,-1.78), layer=10, texttype=25))
dff.add(gdstk.Label('d', (0.065,-0.38), layer=10, texttype=25))
dff.add(gdstk.Label('clr', (-0.175,-1.86), layer=10, texttype=25))
dff.add(gdstk.Label('clk', (-0.175,-1.365), layer=10, texttype=25))
dff.add(gdstk.Label('clk', (13.235,-1.37), layer=10, texttype=25))
dff.add(gdstk.Label('q', (11.9,0.63), layer=5, texttype=1))
dff.add(gdstk.Label('q', (11.645,-0.135), layer=5, texttype=1))

lib.write_gds('dff.gds')
